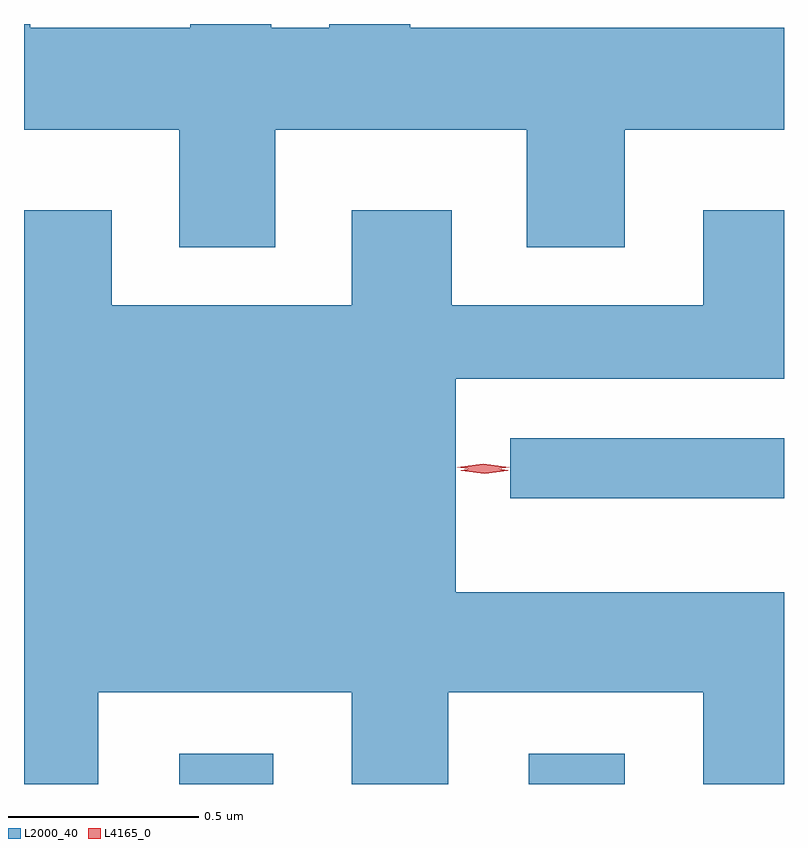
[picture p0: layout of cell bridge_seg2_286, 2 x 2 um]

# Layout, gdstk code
import gdstk
lib = gdstk.Library(unit=1e-6, precision=1e-09)
def R(c, l, rs):  # rectangles x0, y0, x1, y1
    for r in rs: c.add(gdstk.rectangle(r[:2], r[2:], *l))
def P(c, l, *ps):  # polygons
    for p in ps: c.add(gdstk.Polygon(p, *l))
L2000_40 = (2000, 40)
L4165_0 = (4165, 0)

bridge_seg2_286 = lib.new_cell('bridge_seg2_286')
R(bridge_seg2_286, L2000_40, [(619.321,1053.254,619.569,1053.334), (620.241,1053.254,620.494,1053.334), (620.193,1054.006,620.913,1054.164)])
P(bridge_seg2_286, L2000_40, [(619.574,1054.976),(620.236,1054.976),(620.236,1054.666),(620.494,1054.666),(620.494,1054.976),(620.913,1054.976),(620.913,1055.244),(619.929,1055.244),(619.929,1055.254),(619.716,1055.254),(619.716,1055.244),(619.564,1055.244),(619.564,1055.254),(619.351,1055.254),(619.351,1055.244),(618.929,1055.244),(618.929,1055.254),(618.913,1055.254),(618.913,1054.976),(619.321,1054.976),(619.321,1054.666),(619.574,1054.666)],
  [(619.109,1053.496),(619.776,1053.496),(619.776,1053.254),(620.029,1053.254),(620.029,1053.496),(620.701,1053.496),(620.701,1053.254),(620.913,1053.254),(620.913,1053.759),(620.049,1053.759),(620.049,1054.321),(620.913,1054.321),(620.913,1054.764),(620.701,1054.764),(620.701,1054.514),(620.039,1054.514),(620.039,1054.764),(619.776,1054.764),(619.776,1054.514),(619.144,1054.514),(619.144,1054.764),(618.913,1054.764),(618.913,1053.254),(619.109,1053.254)])
P(bridge_seg2_286, L4165_0, [(620.121,1054.078),(620.053,1054.087),(620.052,1054.088),(620.053,1054.088),(620.121,1054.097),(620.19,1054.088),(620.19,1054.087),(620.19,1054.087)],
  [(620.125,1054.07),(620.063,1054.079),(620.062,1054.08),(620.063,1054.08),(620.125,1054.09),(620.186,1054.08),(620.187,1054.08),(620.186,1054.079)])

lib.write_gds('bridge_seg2_286.gds')
